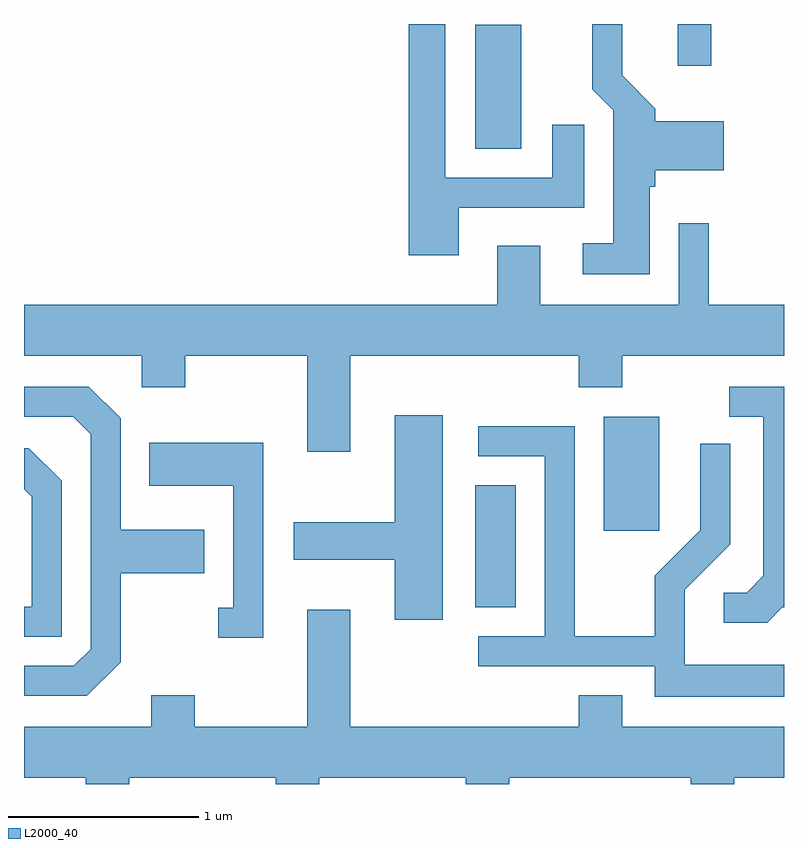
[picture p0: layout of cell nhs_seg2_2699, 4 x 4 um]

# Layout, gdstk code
import gdstk
lib = gdstk.Library(unit=1e-6, precision=1e-09)
def R(c, l, rs):  # rectangles x0, y0, x1, y1
    for r in rs: c.add(gdstk.rectangle(r[:2], r[2:], *l))
def P(c, l, *ps):  # polygons
    for p in ps: c.add(gdstk.Polygon(p, *l))
L2000_40 = (2000, 40)

nhs_seg2_2699 = lib.new_cell('nhs_seg2_2699')
R(nhs_seg2_2699, L2000_40, [(265.986,1084.731,266.199,1085.374), (266.661,1085.136,266.954,1085.734), (265.986,1087.146,266.229,1087.799), (267.051,1087.581,267.229,1087.802)])
P(nhs_seg2_2699, L2000_40, [(265.899,1086.836),(266.559,1086.836),(266.559,1087.273),(266.391,1087.273),(266.391,1086.994),(265.829,1086.994),(265.829,1087.802),(265.636,1087.802),(265.636,1086.586),(265.899,1086.586)],
  [(266.904,1086.946),(266.934,1086.946),(266.934,1087.031),(267.294,1087.031),(267.294,1087.289),(266.934,1087.289),(266.934,1087.357),(266.759,1087.532),(266.759,1087.802),(266.601,1087.802),(266.601,1087.459),(266.711,1087.349),(266.711,1086.649),(266.553,1086.649),(266.553,1086.486),(266.904,1086.486)],
  [(265.329,1086.056),(266.531,1086.056),(266.531,1085.891),(266.759,1085.891),(266.759,1086.056),(267.611,1086.056),(267.611,1086.324),(267.214,1086.324),(267.214,1086.753),(267.056,1086.753),(267.056,1086.324),(266.329,1086.324),(266.329,1086.634),(266.101,1086.634),(266.101,1086.324),(263.611,1086.324),(263.611,1086.056),(264.231,1086.056),(264.231,1085.891),(264.459,1085.891),(264.459,1086.056),(265.101,1086.056),(265.101,1085.551),(265.329,1085.551)],
  [(267.602,1084.731),(267.611,1084.731),(267.611,1085.894),(267.323,1085.894),(267.323,1085.736),(267.501,1085.736),(267.501,1084.897),(267.414,1084.809),(267.293,1084.809),(267.293,1084.651),(267.522,1084.651)],
  [(264.119,1084.444),(264.119,1084.911),(264.559,1084.911),(264.559,1085.139),(264.119,1085.139),(264.119,1085.727),(263.952,1085.894),(263.611,1085.894),(263.611,1085.736),(263.869,1085.736),(263.961,1085.644),(263.961,1084.512),(263.874,1084.424),(263.611,1084.424),(263.611,1084.266),(263.942,1084.266)],
  [(265.814,1085.744),(265.561,1085.744),(265.561,1085.179),(265.031,1085.179),(265.031,1084.981),(265.561,1084.981),(265.561,1084.666),(265.814,1084.666)],
  [(267.611,1084.429),(267.089,1084.429),(267.089,1084.824),(267.329,1085.064),(267.329,1085.593),(267.171,1085.593),(267.171,1085.137),(266.931,1084.897),(266.931,1084.579),(266.509,1084.579),(266.509,1085.684),(266.003,1085.684),(266.003,1085.526),(266.351,1085.526),(266.351,1084.579),(266.003,1084.579),(266.003,1084.421),(266.931,1084.421),(266.931,1084.261),(267.611,1084.261)],
  [(264.869,1085.599),(264.271,1085.599),(264.271,1085.371),(264.711,1085.371),(264.711,1084.729),(264.633,1084.729),(264.633,1084.571),(264.869,1084.571)],
  [(263.809,1085.397),(263.637,1085.569),(263.611,1085.569),(263.611,1085.354),(263.651,1085.314),(263.651,1084.734),(263.611,1084.734),(263.611,1084.576),(263.809,1084.576)],
  [(264.164,1083.836),(264.936,1083.836),(264.936,1083.802),(265.164,1083.802),(265.164,1083.836),(265.936,1083.836),(265.936,1083.802),(266.164,1083.802),(266.164,1083.836),(267.121,1083.836),(267.121,1083.802),(267.349,1083.802),(267.349,1083.836),(267.611,1083.836),(267.611,1084.104),(266.759,1084.104),(266.759,1084.269),(266.531,1084.269),(266.531,1084.104),(265.329,1084.104),(265.329,1084.719),(265.101,1084.719),(265.101,1084.104),(264.509,1084.104),(264.509,1084.269),(264.281,1084.269),(264.281,1084.104),(263.611,1084.104),(263.611,1083.836),(263.936,1083.836),(263.936,1083.802),(264.164,1083.802)])

lib.write_gds('nhs_seg2_2699.gds')
